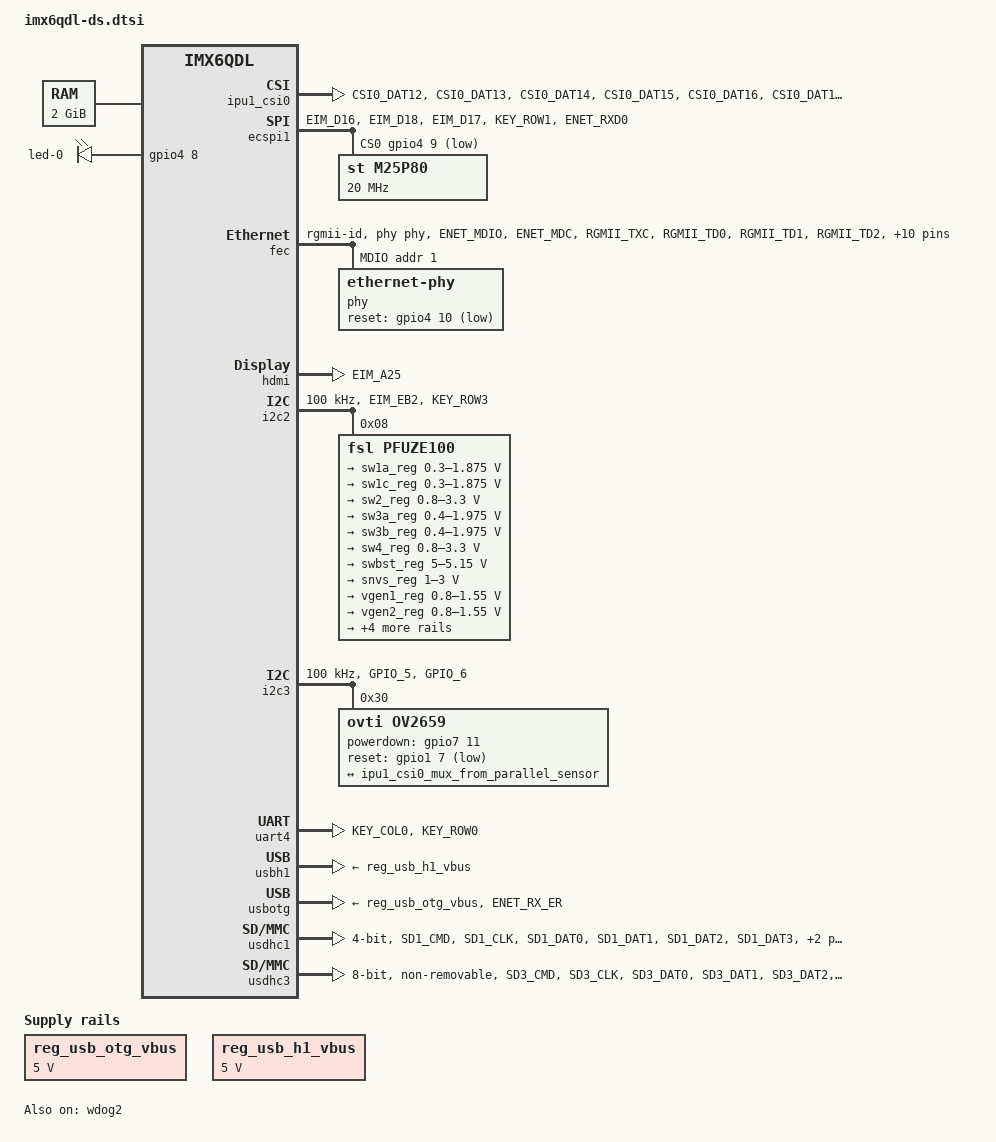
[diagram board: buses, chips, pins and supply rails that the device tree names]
// SPDX-License-Identifier: GPL-2.0+
//
// Copyright 2021 Dillon Min <dillon.minfei@gmail.com>
//
// Based on imx6qdl-sabresd.dtsi which is:
// Copyright 2012 Freescale Semiconductor, Inc.
// Copyright 2011 Linaro Ltd.

#include <dt-bindings/clock/imx6qdl-clock.h>
#include <dt-bindings/gpio/gpio.h>
#include <dt-bindings/input/input.h>

/ {
	chosen {
		stdout-path = &uart4;
	};

	memory@10000000 {
		device_type = "memory";
		reg = <0x10000000 0x80000000>;
	};

	reg_usb_otg_vbus: regulator-usb-otg-vbus {
		compatible = "regulator-fixed";
		regulator-name = "usb_otg_vbus";
		regulator-min-microvolt = <5000000>;
		regulator-max-microvolt = <5000000>;
	};

	reg_usb_h1_vbus: regulator-usb-h1-vbus {
		compatible = "regulator-fixed";
		regulator-name = "usb_h1_vbus";
		regulator-min-microvolt = <5000000>;
		regulator-max-microvolt = <5000000>;
	};

	leds {
		compatible = "gpio-leds";
		pinctrl-names = "default";
		pinctrl-0 = <&pinctrl_gpio_leds>;

		led-0 {
			gpios = <&gpio4 8 GPIO_ACTIVE_HIGH>;
			default-state = "on";
			linux,default-trigger = "heartbeat";
		};
	};
};

&ipu1_csi0_from_ipu1_csi0_mux {
	bus-width = <8>;
	data-shift = <12>; /* Lines 19:12 used */
	hsync-active = <1>;
	vsync-active = <1>;
};

&ipu1_csi0_mux_from_parallel_sensor {
	remote-endpoint = <&ov2659_to_ipu1_csi0_mux>;
};

&ipu1_csi0 {
	pinctrl-names = "default";
	pinctrl-0 = <&pinctrl_ipu1_csi0>;
	status = "okay";
};

&ecspi1 {
	cs-gpios = <&gpio4 9 GPIO_ACTIVE_LOW>;
	pinctrl-names = "default";
	pinctrl-0 = <&pinctrl_ecspi1>, <&pinctrl_ecspi1_gpio>;
	status = "okay";

	m25p80: flash@0 {
		#address-cells = <1>;
		#size-cells = <1>;
		compatible = "st,m25p80", "jedec,spi-nor";
		spi-max-frequency = <20000000>;
		reg = <0>;
	};
};

&fec {
	pinctrl-names = "default";
	pinctrl-0 = <&pinctrl_enet>;
	phy-mode = "rgmii-id";
	phy-handle = <&phy>;
	fsl,magic-packet;
	status = "okay";

	mdio {
		#address-cells = <1>;
		#size-cells = <0>;

		phy: ethernet-phy@1 {
			reg = <1>;
			qca,clk-out-frequency = <125000000>;
			reset-gpios = <&gpio4 10 GPIO_ACTIVE_LOW>;
			reset-assert-us = <10000>;
		};
	};
};

&hdmi {
	pinctrl-names = "default";
	pinctrl-0 = <&pinctrl_hdmi_cec>;
	ddc-i2c-bus = <&i2c3>;
	status = "okay";
};

&i2c2 {
	clock-frequency = <100000>;
	pinctrl-names = "default";
	pinctrl-0 = <&pinctrl_i2c2>;
	status = "okay";

	pfuze100: pmic@8 {
		compatible = "fsl,pfuze100";
		reg = <0x08>;

		regulators {
			sw1a_reg: sw1ab {
				regulator-min-microvolt = <300000>;
				regulator-max-microvolt = <1875000>;
				regulator-boot-on;
				regulator-always-on;
				regulator-ramp-delay = <6250>;
			};

			sw1c_reg: sw1c {
				regulator-min-microvolt = <300000>;
				regulator-max-microvolt = <1875000>;
				regulator-boot-on;
				regulator-always-on;
				regulator-ramp-delay = <6250>;
			};

			sw2_reg: sw2 {
				regulator-min-microvolt = <800000>;
				regulator-max-microvolt = <3300000>;
				regulator-boot-on;
				regulator-always-on;
				regulator-ramp-delay = <6250>;
			};

			sw3a_reg: sw3a {
				regulator-min-microvolt = <400000>;
				regulator-max-microvolt = <1975000>;
				regulator-boot-on;
				regulator-always-on;
			};

			sw3b_reg: sw3b {
				regulator-min-microvolt = <400000>;
				regulator-max-microvolt = <1975000>;
				regulator-boot-on;
				regulator-always-on;
			};

			sw4_reg: sw4 {
				regulator-min-microvolt = <800000>;
				regulator-max-microvolt = <3300000>;
				regulator-always-on;
			};

			swbst_reg: swbst {
				regulator-min-microvolt = <5000000>;
				regulator-max-microvolt = <5150000>;
			};

			snvs_reg: vsnvs {
				regulator-min-microvolt = <1000000>;
				regulator-max-microvolt = <3000000>;
				regulator-boot-on;
				regulator-always-on;
			};

			vref_reg: vrefddr {
				regulator-boot-on;
				regulator-always-on;
			};

			vgen1_reg: vgen1 {
				regulator-min-microvolt = <800000>;
				regulator-max-microvolt = <1550000>;
			};

			vgen2_reg: vgen2 {
				regulator-min-microvolt = <800000>;
				regulator-max-microvolt = <1550000>;
			};

			vgen3_reg: vgen3 {
				regulator-min-microvolt = <1800000>;
				regulator-max-microvolt = <3300000>;
			};

			vgen4_reg: vgen4 {
				regulator-min-microvolt = <1800000>;
				regulator-max-microvolt = <3300000>;
				regulator-always-on;
			};

			vgen5_reg: vgen5 {
				regulator-min-microvolt = <1800000>;
				regulator-max-microvolt = <3300000>;
				regulator-always-on;
			};

			vgen6_reg: vgen6 {
				regulator-min-microvolt = <1800000>;
				regulator-max-microvolt = <3300000>;
				regulator-always-on;
			};
		};
	};
};

&i2c3 {
	clock-frequency = <100000>;
	pinctrl-names = "default";
	pinctrl-0 = <&pinctrl_i2c3>;
	status = "okay";

	ov2659: camera@30 {
		compatible = "ovti,ov2659";
		pinctrl-names = "default";
		pinctrl-0 = <&pinctrl_ov2659>;
		clocks = <&clks IMX6QDL_CLK_CKO>;
		clock-names = "xvclk";
		reg = <0x30>;
		powerdown-gpios = <&gpio7 11 GPIO_ACTIVE_HIGH>;
		reset-gpios = <&gpio1 7 GPIO_ACTIVE_LOW>;
		status = "okay";

		port {
			ov2659_to_ipu1_csi0_mux: endpoint {
				remote-endpoint = <&ipu1_csi0_mux_from_parallel_sensor>;
				link-frequencies = /bits/ 64 <70000000>;
				bus-width = <8>;
				hsync-active = <1>;
				vsync-active = <1>;
			};
		};
	};
};

&iomuxc {
	pinctrl_ecspi1: ecspi1grp {
		fsl,pins = <
			MX6QDL_PAD_EIM_D16__ECSPI1_SCLK		0x100b1
			MX6QDL_PAD_EIM_D18__ECSPI1_MOSI		0x100b1
			MX6QDL_PAD_EIM_D17__ECSPI1_MISO		0x100b1
		>;
	};

	pinctrl_ecspi1_gpio: ecspi1gpiogrp {
		fsl,pins = <
			MX6QDL_PAD_KEY_ROW1__GPIO4_IO09		0x1b0b0
			MX6QDL_PAD_ENET_RXD0__GPIO1_IO27	0x1b0b0
		>;
	};

	pinctrl_enet: enetgrp {
		fsl,pins = <
			MX6QDL_PAD_ENET_MDIO__ENET_MDIO		0x1b0b0
			MX6QDL_PAD_ENET_MDC__ENET_MDC		0x1b0b0
			MX6QDL_PAD_RGMII_TXC__RGMII_TXC		0x1b030
			MX6QDL_PAD_RGMII_TD0__RGMII_TD0		0x1b030
			MX6QDL_PAD_RGMII_TD1__RGMII_TD1		0x1b030
			MX6QDL_PAD_RGMII_TD2__RGMII_TD2		0x1b030
			MX6QDL_PAD_RGMII_TD3__RGMII_TD3		0x1b030
			MX6QDL_PAD_RGMII_TX_CTL__RGMII_TX_CTL	0x1b030
			MX6QDL_PAD_ENET_REF_CLK__ENET_TX_CLK	0x1b0b0
			MX6QDL_PAD_RGMII_RXC__RGMII_RXC		0x1b030
			MX6QDL_PAD_RGMII_RD0__RGMII_RD0		0x1b030
			MX6QDL_PAD_RGMII_RD1__RGMII_RD1		0x1b030
			MX6QDL_PAD_RGMII_RD2__RGMII_RD2		0x1b030
			MX6QDL_PAD_RGMII_RD3__RGMII_RD3		0x1b030
			MX6QDL_PAD_RGMII_RX_CTL__RGMII_RX_CTL	0x1b030
			MX6QDL_PAD_KEY_COL2__GPIO4_IO10         0x1b0b0
		>;
	};

	pinctrl_hdmi_cec: hdmicecgrp {
		fsl,pins = <
			MX6QDL_PAD_EIM_A25__HDMI_TX_CEC_LINE	0x1f8b0
		>;
	};

	pinctrl_i2c2: i2c2grp {
		fsl,pins = <
			MX6QDL_PAD_EIM_EB2__I2C2_SCL		0x4001b8b1
			MX6QDL_PAD_KEY_ROW3__I2C2_SDA		0x4001b8b1
		>;
	};

	pinctrl_i2c3: i2c3grp {
		fsl,pins = <
			MX6QDL_PAD_GPIO_5__I2C3_SCL		0x4001b8b1
			MX6QDL_PAD_GPIO_6__I2C3_SDA		0x4001b8b1
		>;
	};

	pinctrl_ipu1_csi0: ipu1csi0grp {
		fsl,pins = <
			MX6QDL_PAD_CSI0_DAT12__IPU1_CSI0_DATA12    0x1b0b0
			MX6QDL_PAD_CSI0_DAT13__IPU1_CSI0_DATA13    0x1b0b0
			MX6QDL_PAD_CSI0_DAT14__IPU1_CSI0_DATA14    0x1b0b0
			MX6QDL_PAD_CSI0_DAT15__IPU1_CSI0_DATA15    0x1b0b0
			MX6QDL_PAD_CSI0_DAT16__IPU1_CSI0_DATA16    0x1b0b0
			MX6QDL_PAD_CSI0_DAT17__IPU1_CSI0_DATA17    0x1b0b0
			MX6QDL_PAD_CSI0_DAT18__IPU1_CSI0_DATA18    0x1b0b0
			MX6QDL_PAD_CSI0_DAT19__IPU1_CSI0_DATA19    0x1b0b0
			MX6QDL_PAD_CSI0_PIXCLK__IPU1_CSI0_PIXCLK   0x1b0b0
			MX6QDL_PAD_CSI0_MCLK__IPU1_CSI0_HSYNC      0x1b0b0
			MX6QDL_PAD_CSI0_VSYNC__IPU1_CSI0_VSYNC     0x1b0b0
		>;
	};

	pinctrl_ov2659: ov2659grp {
		fsl,pins = <
			MX6QDL_PAD_GPIO_16__GPIO7_IO11		0x1b0b0
			MX6QDL_PAD_GPIO_7__GPIO1_IO07		0x1b0b0
			MX6QDL_PAD_GPIO_0__CCM_CLKO1		0x130b0
		>;
	};

	pinctrl_uart4: uart4grp {
		fsl,pins = <
			MX6QDL_PAD_KEY_COL0__UART4_TX_DATA	0x1b0b1
			MX6QDL_PAD_KEY_ROW0__UART4_RX_DATA	0x1b0b1
		>;
	};

	pinctrl_usbotg: usbotggrp {
		fsl,pins = <
			MX6QDL_PAD_ENET_RX_ER__USB_OTG_ID	0x17059
		>;
	};

	pinctrl_usdhc1: usdhc1grp {
		fsl,pins = <
			MX6QDL_PAD_SD1_CMD__SD1_CMD		0x17059
			MX6QDL_PAD_SD1_CLK__SD1_CLK		0x10059
			MX6QDL_PAD_SD1_DAT0__SD1_DATA0		0x17059
			MX6QDL_PAD_SD1_DAT1__SD1_DATA1		0x17059
			MX6QDL_PAD_SD1_DAT2__SD1_DATA2		0x17059
			MX6QDL_PAD_SD1_DAT3__SD1_DATA3		0x17059
		>;
	};

	pinctrl_usdhc1_gpio: usdhc1gpiogrp {
		fsl,pins = <
			MX6QDL_PAD_ENET_TX_EN__GPIO1_IO28	0x1b0b0
		>;
	};

	pinctrl_usdhc2: usdhc2grp {
		fsl,pins = <
			MX6QDL_PAD_SD2_CMD__SD2_CMD		0x17059
			MX6QDL_PAD_SD2_CLK__SD2_CLK		0x10059
			MX6QDL_PAD_SD2_DAT0__SD2_DATA0		0x17059
			MX6QDL_PAD_SD2_DAT1__SD2_DATA1		0x17059
			MX6QDL_PAD_SD2_DAT2__SD2_DATA2		0x17059
			MX6QDL_PAD_SD2_DAT3__SD2_DATA3		0x17059
		>;
	};

	pinctrl_usdhc2_gpio: usdhc2gpiogrp {
		fsl,pins = <
			MX6QDL_PAD_NANDF_D0__GPIO2_IO00		0x1b0b0
			MX6QDL_PAD_NANDF_D1__GPIO2_IO01		0x1b0b0
		>;
	};

	pinctrl_usdhc3: usdhc3grp {
		fsl,pins = <
			MX6QDL_PAD_SD3_CMD__SD3_CMD		0x17059
			MX6QDL_PAD_SD3_CLK__SD3_CLK		0x10059
			MX6QDL_PAD_SD3_DAT0__SD3_DATA0		0x17059
			MX6QDL_PAD_SD3_DAT1__SD3_DATA1		0x17059
			MX6QDL_PAD_SD3_DAT2__SD3_DATA2		0x17059
			MX6QDL_PAD_SD3_DAT3__SD3_DATA3		0x17059
			MX6QDL_PAD_SD3_DAT4__SD3_DATA4		0x17059
			MX6QDL_PAD_SD3_DAT5__SD3_DATA5		0x17059
			MX6QDL_PAD_SD3_DAT6__SD3_DATA6		0x17059
			MX6QDL_PAD_SD3_DAT7__SD3_DATA7		0x17059
		>;
	};

	pinctrl_wdog: wdoggrp {
		fsl,pins = <
			MX6QDL_PAD_GPIO_1__WDOG2_B		0x1b0b0
		>;
	};

	pinctrl_gpio_leds: gpioledsgrp {
		fsl,pins = <
			MX6QDL_PAD_KEY_COL1__GPIO4_IO08 0x1b0b0
		>;
	};
};

&uart4 {
	pinctrl-names = "default";
	pinctrl-0 = <&pinctrl_uart4>;
	status = "okay";
};

&usbh1 {
	vbus-supply = <&reg_usb_h1_vbus>;
	status = "okay";
};

&usbotg {
	vbus-supply = <&reg_usb_otg_vbus>;
	pinctrl-names = "default";
	pinctrl-0 = <&pinctrl_usbotg>;
	disable-over-current;
	status = "okay";
};

&usdhc1 {
	pinctrl-names = "default";
	pinctrl-0 = <&pinctrl_usdhc1>, <&pinctrl_usdhc1_gpio>;
	bus-width = <4>;
	cd-gpios = <&gpio1 28 GPIO_ACTIVE_LOW>;
	status = "okay";
};

&usdhc2 {
	pinctrl-names = "default";
	pinctrl-0 = <&pinctrl_usdhc2>, <&pinctrl_usdhc2_gpio>;
	bus-width = <4>;
	cd-gpios = <&gpio2 0 GPIO_ACTIVE_LOW>;
	wp-gpios = <&gpio2 1 GPIO_ACTIVE_HIGH>;
	status = "disabled";
};

&usdhc3 {
	pinctrl-names = "default";
	pinctrl-0 = <&pinctrl_usdhc3>;
	bus-width = <8>;
	non-removable;
	no-1-8-v;
	status = "okay";
};

&wdog1 {
	status = "disabled";
};

&wdog2 {
	pinctrl-names = "default";
	pinctrl-0 = <&pinctrl_wdog>;
	fsl,ext-reset-output;
	status = "okay";
};
